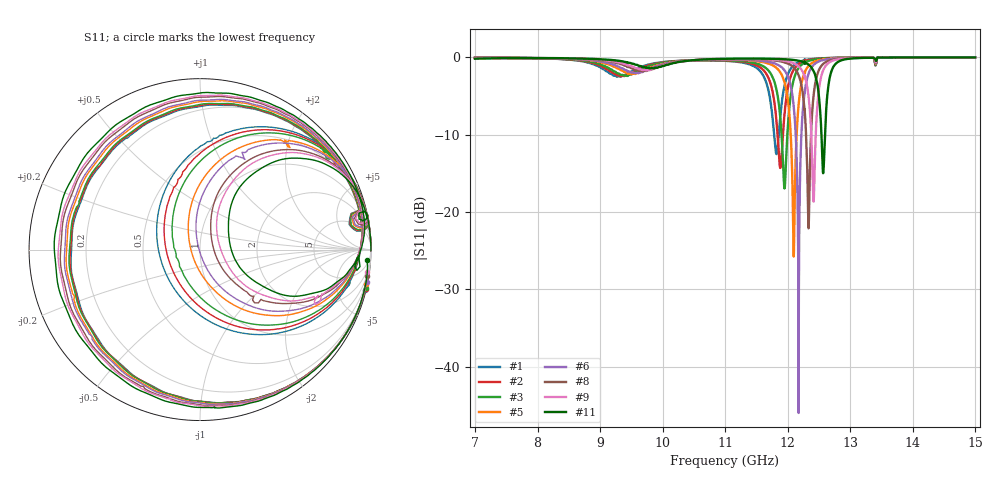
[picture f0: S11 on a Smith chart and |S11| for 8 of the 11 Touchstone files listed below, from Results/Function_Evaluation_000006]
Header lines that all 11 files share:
! TOUCHSTONE file generated by CST DESIGN STUDIO
! Project name: C:\Work\MatlabApps\UnitCellType2OptimizationMatlab\CST\unitcell.cst
! Tree item: Tasks\Sweep1\SPara1\S-Parameters
! Header version: 2024
! Port assignment regex: !\s*Touchstone port\s*([0-9]+)\s*=\s*(CST MWS port|CST DES external port|CST DES block port)\s*(.+)\s* \(\"(.*)\"\)(\s*mode\s*([0-9]+))?.*
! Touchstone port assignment:
! Touchstone port 1 = CST DES external port 1 ("")
# GHz S MA R 50
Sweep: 7 GHz to 15 GHz
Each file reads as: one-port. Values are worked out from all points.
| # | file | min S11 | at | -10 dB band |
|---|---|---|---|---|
| 1 | DS_for_MWS-run-0001.s1p | -12.5 dB | 11.82 GHz | 74.49 MHz wide |
| 2 | DS_for_MWS-run-0002.s1p | -14.3 dB | 11.88 GHz | 86.19 MHz wide |
| 3 | DS_for_MWS-run-0003.s1p | -16.9 dB | 11.95 GHz | 92.73 MHz wide |
| 4 | DS_for_MWS-run-0004.s1p | -20.1 dB | 12.02 GHz | 95.26 MHz wide |
| 5 | DS_for_MWS-run-0005.s1p | -25.8 dB | 12.1 GHz | 94.49 MHz wide |
| 6 | DS_for_MWS-run-0006.s1p | -46.0 dB | 12.18 GHz | 90.79 MHz wide |
| 7 | DS_for_MWS-run-0007.s1p | -28.4 dB | 12.26 GHz | 86.8 MHz wide |
| 8 | DS_for_MWS-run-0008.s1p | -22.1 dB | 12.34 GHz | 79.05 MHz wide |
| 9 | DS_for_MWS-run-0009.s1p | -18.7 dB | 12.42 GHz | 71.7 MHz wide |
| 10 | DS_for_MWS-run-0010.s1p | -16.8 dB | 12.5 GHz | 64.53 MHz wide |
| 11 | DS_for_MWS-run-0011.s1p | -15.0 dB | 12.57 GHz | 56.88 MHz wide |
